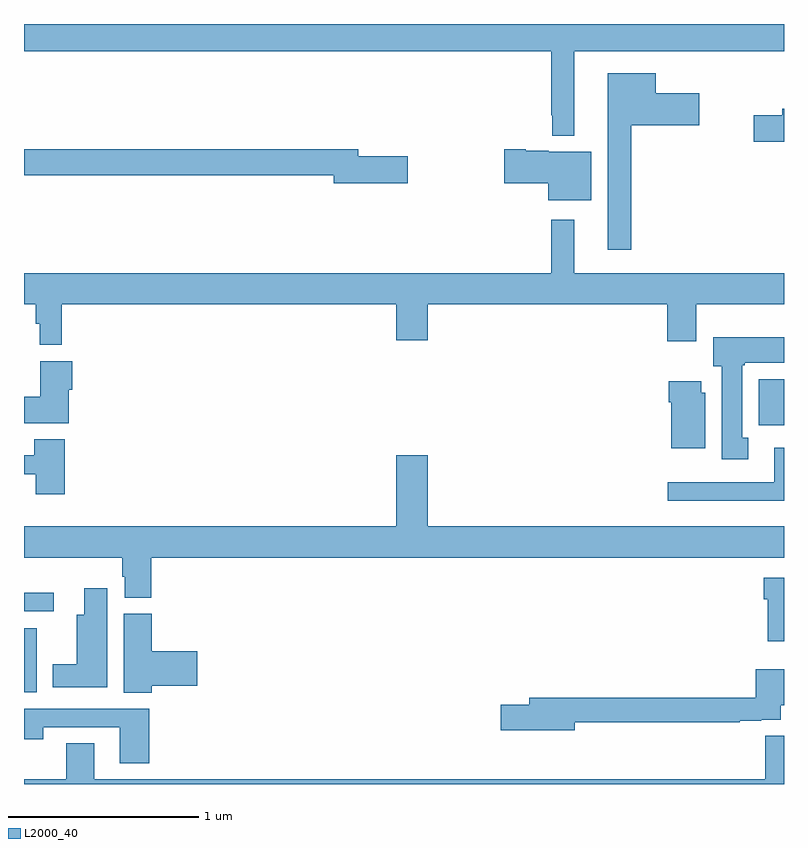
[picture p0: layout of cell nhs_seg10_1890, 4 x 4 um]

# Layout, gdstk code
import gdstk
lib = gdstk.Library(unit=1e-6, precision=1e-09)
def R(c, l, rs):  # rectangles x0, y0, x1, y1
    for r in rs: c.add(gdstk.rectangle(r[:2], r[2:], *l))
def P(c, l, *ps):  # polygons
    for p in ps: c.add(gdstk.Polygon(p, *l))
L2000_40 = (2000, 40)

nhs_seg10_1890 = lib.new_cell('nhs_seg10_1890')
R(nhs_seg10_1890, L2000_40, [(211,1256.984,211.066,1257.319), (211,1257.408,211.156,1257.506), (214.868,1258.388,215,1258.63)])
P(nhs_seg10_1890, L2000_40, [(213.895,1260.356),(215,1260.356),(215,1260.5),(211,1260.5),(211,1260.356),(213.774,1260.356),(213.774,1260.019),(213.781,1260.019),(213.781,1259.912),(213.895,1259.912)],
  [(214.195,1259.966),(214.555,1259.966),(214.555,1260.136),(214.324,1260.136),(214.324,1260.241),(214.073,1260.241),(214.073,1259.313),(214.195,1259.313)],
  [(215,1260.055),(214.991,1260.055),(214.991,1260.021),(214.842,1260.021),(214.842,1259.879),(215,1259.879)],
  [(213.019,1259.804),(212.758,1259.804),(212.758,1259.84),(211,1259.84),(211,1259.704),(212.63,1259.704),(212.63,1259.662),(213.019,1259.662)],
  [(213.985,1259.827),(213.762,1259.827),(213.762,1259.833),(213.64,1259.833),(213.64,1259.84),(213.528,1259.84),(213.528,1259.662),(213.758,1259.662),(213.758,1259.573),(213.985,1259.573)],
  [(211.199,1259.024),(212.96,1259.024),(212.96,1258.836),(213.124,1258.836),(213.124,1259.024),(214.385,1259.024),(214.385,1258.83),(214.537,1258.83),(214.537,1259.024),(215,1259.024),(215,1259.188),(213.895,1259.188),(213.895,1259.47),(213.774,1259.47),(213.774,1259.188),(211,1259.188),(211,1259.024),(211.063,1259.024),(211.063,1258.923),(211.083,1258.923),(211.083,1258.811),(211.199,1258.811)],
  [(214.813,1258.322),(214.78,1258.322),(214.78,1258.705),(214.794,1258.705),(214.794,1258.718),(215,1258.718),(215,1258.852),(214.628,1258.852),(214.628,1258.698),(214.673,1258.698),(214.673,1258.209),(214.813,1258.209)],
  [(211.235,1258.574),(211.255,1258.574),(211.255,1258.726),(211.085,1258.726),(211.085,1258.538),(211,1258.538),(211,1258.4),(211.235,1258.4)],
  [(214.585,1258.56),(214.564,1258.56),(214.564,1258.621),(214.394,1258.621),(214.394,1258.508),(214.406,1258.508),(214.406,1258.268),(214.585,1258.268)],
  [(211.214,1258.315),(211.054,1258.315),(211.054,1258.229),(211,1258.229),(211,1258.131),(211.061,1258.131),(211.061,1258.026),(211.214,1258.026)],
  [(215,1258.27),(214.949,1258.27),(214.949,1258.089),(214.389,1258.089),(214.389,1257.992),(215,1257.992)],
  [(211.67,1257.692),(215,1257.692),(215,1257.856),(213.124,1257.856),(213.124,1258.231),(212.96,1258.231),(212.96,1257.856),(211,1257.856),(211,1257.692),(211.517,1257.692),(211.517,1257.591),(211.529,1257.591),(211.529,1257.481),(211.67,1257.481)],
  [(215,1257.586),(214.894,1257.586),(214.894,1257.473),(214.914,1257.473),(214.914,1257.251),(215,1257.251)],
  [(211.438,1257.529),(211.316,1257.529),(211.316,1257.391),(211.277,1257.391),(211.277,1257.13),(211.151,1257.13),(211.151,1257.008),(211.438,1257.008)],
  [(211.673,1257.017),(211.912,1257.017),(211.912,1257.2),(211.673,1257.2),(211.673,1257.396),(211.526,1257.396),(211.526,1256.98),(211.673,1256.98)],
  [(213.898,1256.826),(214.766,1256.826),(214.766,1256.832),(214.88,1256.832),(214.88,1256.838),(214.984,1256.838),(214.984,1256.915),(215,1256.915),(215,1257.103),(214.85,1257.103),(214.85,1256.954),(213.659,1256.954),(213.659,1256.918),(213.51,1256.918),(213.51,1256.783),(213.898,1256.783)],
  [(211.658,1256.895),(211,1256.895),(211,1256.736),(211.101,1256.736),(211.101,1256.799),(211.505,1256.799),(211.505,1256.61),(211.658,1256.61)],
  [(215,1256.753),(214.9,1256.753),(214.9,1256.524),(211.369,1256.524),(211.369,1256.714),(211.222,1256.714),(211.222,1256.524),(211,1256.524),(211,1256.5),(215,1256.5)])

lib.write_gds('nhs_seg10_1890.gds')
